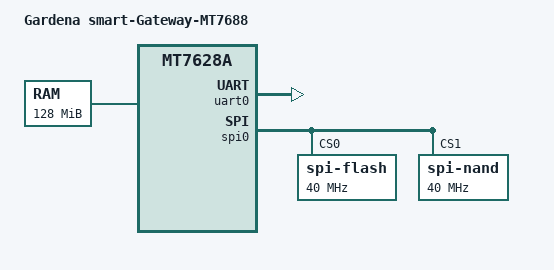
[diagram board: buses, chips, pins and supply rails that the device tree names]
// SPDX-License-Identifier: GPL-2.0
/*
 * Copyright (C) 2018 Stefan Roese <sr@denx.de>
 */

/dts-v1/;

#include "mt7628a.dtsi"

/ {
	compatible = "gardena,smart-gateway-mt7688", "ralink,mt7628a-soc";
	model = "Gardena smart-Gateway-MT7688";

	aliases {
		serial0 = &uart0;
		spi0 = &spi0;
	};

	memory@0 {
		device_type = "memory";
		reg = <0x0 0x08000000>;
	};

	chosen {
		bootargs = "console=ttyS0,57600";
		stdout-path = &uart0;
	};
};

&uart0 {
	status = "okay";
	clock-frequency = <40000000>;
};

&spi0 {
	status = "okay";
	num-cs = <2>;

	spi-flash@0 {
		#address-cells = <1>;
		#size-cells = <1>;
		compatible = "spi-flash", "jedec,spi-nor";
		spi-max-frequency = <40000000>;
		reg = <0>;
	};

	spi-nand@1 {
		#address-cells = <1>;
		#size-cells = <1>;
		compatible = "spi-nand";
		spi-max-frequency = <40000000>;
		reg = <1>;
	};
};
